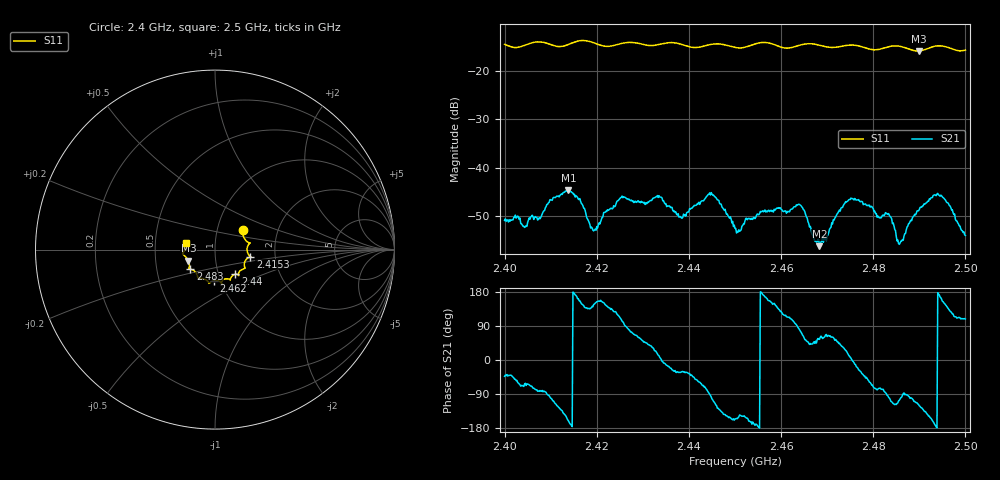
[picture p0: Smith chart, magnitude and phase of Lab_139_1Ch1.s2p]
# Hz S RI R 50
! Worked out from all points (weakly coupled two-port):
!   601 points, 2.4 GHz to 2.5 GHz, reference 50 ohm
!   highest |S21| = -44.54 dB at 2.4138 GHz (marker M1); lowest = -56.2 dB at 2.4683 GHz (marker M2)
!   lowest |S11| = -15.9 dB at 2.4898 GHz (marker M3), VSWR 1.38, Z = 36.8 - j4.62 ohm
!   |S11| at or under -10 dB: start of sweep to end of sweep
!   S12 and S22 are empty: the file has one direction only
!   S11 on the Smith chart (normalised r, x): 2.4 GHz: 1.33, +0.29; 2.4153 GHz: 1.48, -0.12; 2.44 GHz: 1.20, -0.34; 2.462 GHz: 0.93, -0.33; 2.483 GHz: 0.74, -0.17; 2.5 GHz: 0.72, +0.06
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2.4e9  0.1556 0.1065  0.00209 -0.00196  0 0  0 0
2.404333e9  0.1782 0.0447  0.00109 -0.00217  0 0  0 0
2.413833e9  0.1858 -0.0257  -0.00558 -0.00201  0 0  0 0
2.415333e9  0.1961 -0.0385  -0.00494 0.000736  0 0  0 0
2.416667e9  0.2017 -0.0425  -0.00366 0.00223  0 0  0 0
2.419667e9  0.1877 -0.0441  -0.00202 0.00116  0 0  0 0
2.425333e9  0.1656 -0.0975  -0.00142 0.00476  0 0  0 0
2.433333e9  0.1311 -0.1335  0.00483 0.00109  0 0  0 0
2.44e9  0.114 -0.1369  0.00287 -0.00208  0 0  0 0
2.445e9  0.0846 -0.1686  -0.00118 -0.00523  0 0  0 0
2.45e9  0.0646 -0.1626  -0.00216 -0.000979  0 0  0 0
2.462e9  -0.00516 -0.1732  -0.00121 0.00348  0 0  0 0
2.464333e9  -0.0292 -0.1839  0.00119 0.00389  0 0  0 0
2.466667e9  -0.0342 -0.1875  0.00155 0.00141  0 0  0 0
2.468333e9  -0.037 -0.1805  0.0009 0.00127  0 0  0 0
2.475e9  -0.0921 -0.1602  0.00466 0.00064  0 0  0 0
2.483e9  -0.1376 -0.1094  -0.000173 -0.00337  0 0  0 0
2.483333e9  -0.14 -0.1093  -0.000489 -0.00334  0 0  0 0
2.486e9  -0.1454 -0.1041  -0.000286 -0.00173  0 0  0 0
2.489833e9  -0.1485 -0.0611  -0.00165 -0.0032  0 0  0 0
2.494333e9  -0.1807 -0.0219  -0.00515 0.000758  0 0  0 0
2.5e9  -0.1597 0.039  -0.000629 0.0019  0 0  0 0
